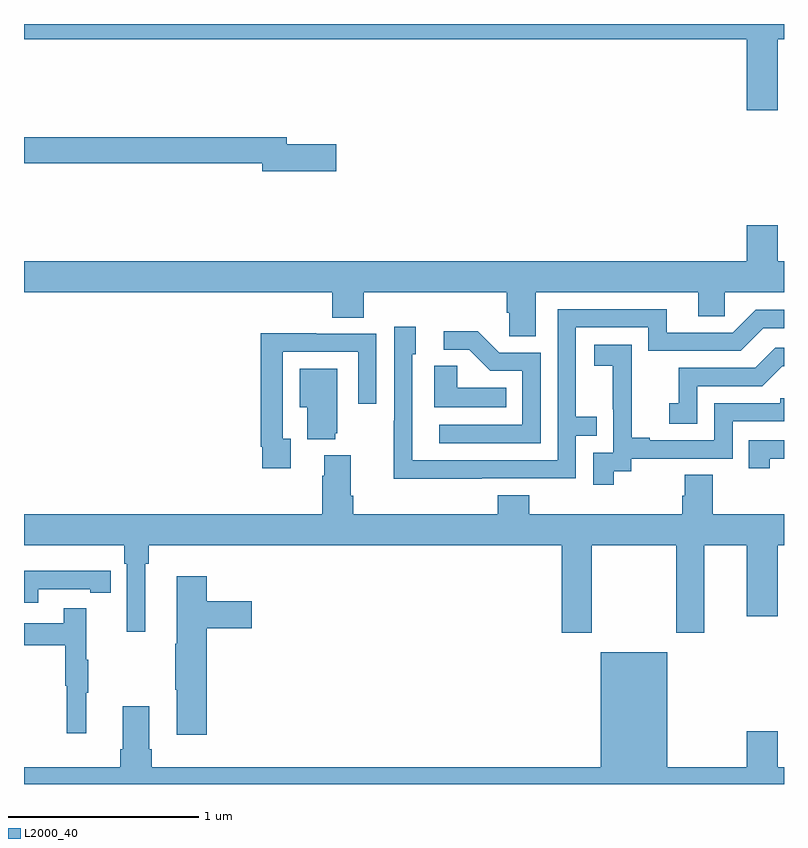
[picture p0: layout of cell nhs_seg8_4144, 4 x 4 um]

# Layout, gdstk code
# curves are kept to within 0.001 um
import gdstk
lib = gdstk.Library(unit=1e-6, precision=1e-09)
def P(c, l, *ps):  # polygons
    for p in ps: c.add(gdstk.Polygon(p, *l))
L2000_40 = (2000, 40)

nhs_seg8_4144 = lib.new_cell('nhs_seg8_4144')
P(nhs_seg8_4144, L2000_40, [(368.968,1129.82),(369,1129.82),(369,1129.9),(365,1129.9),(365,1129.82),(368.804,1129.82),(368.804,1129.446),(368.968,1129.446)],
  [(366.643,1129.268),(366.382,1129.268),(366.382,1129.304),(365,1129.304),(365,1129.168),(366.254,1129.168),(366.254,1129.126),(366.643,1129.126)],
  [(367.693,1128.488),(368.549,1128.488),(368.549,1128.361),(368.688,1128.361),(368.688,1128.488),(369,1128.488),(369,1128.652),(368.968,1128.652),(368.968,1128.841),(368.804,1128.841),(368.804,1128.652),(365,1128.652),(365,1128.488),(366.623,1128.488),(366.623,1128.355),(366.788,1128.355),(366.788,1128.488),(367.541,1128.488),(367.541,1128.379),(367.554,1128.379),(367.554,1128.256),(367.693,1128.256)],
  [(367.409,1127.508),(367.905,1127.508),(367.905,1127.733),(368.015,1127.733),(368.015,1127.834),(367.905,1127.834),(367.905,1128.303),(368.286,1128.303),(368.286,1128.18),(368.772,1128.18),(368.892,1128.3),(369,1128.3),(369,1128.396),(368.85,1128.396),(368.73,1128.276),(368.383,1128.276),(368.383,1128.399),(367.809,1128.399),(367.809,1127.604),(367.044,1127.604),(367.044,1128.162),(367.063,1128.162),(367.063,1128.307),(366.948,1128.307),(366.948,1127.813),(366.946,1127.813),(366.946,1127.507)],
  [(367.719,1128.171),(367.5,1128.171),(367.387,1128.284),(367.209,1128.284),(367.209,1128.186),(367.343,1128.186),(367.454,1128.075),(367.623,1128.075),(367.623,1127.79),(367.185,1127.79),(367.185,1127.694),(367.719,1127.694)],
  [(366.403,1127.718),(366.363,1127.718),(366.363,1128.174),(366.759,1128.174),(366.759,1127.901),(366.855,1127.901),(366.855,1128.27),(366.539,1128.27),(366.539,1128.272),(366.247,1128.272),(366.247,1127.674),(366.255,1127.674),(366.255,1127.562),(366.403,1127.562)],
  [(368.104,1127.545),(368.196,1127.545),(368.196,1127.613),(368.73,1127.613),(368.73,1127.808),(369,1127.808),(369,1127.931),(368.979,1127.931),(368.979,1127.904),(368.634,1127.904),(368.634,1127.709),(368.293,1127.709),(368.293,1127.722),(368.198,1127.722),(368.198,1128.005),(368.199,1128.005),(368.199,1128.211),(368.001,1128.211),(368.001,1128.101),(368.099,1128.101),(368.099,1127.873),(368.1,1127.873),(368.1,1127.643),(367.995,1127.643),(367.995,1127.475),(368.104,1127.475)],
  [(368.544,1127.994),(368.886,1127.994),(368.99,1128.098),(369,1128.098),(369,1128.195),(368.954,1128.195),(368.849,1128.09),(368.446,1128.09),(368.446,1127.905),(368.397,1127.905),(368.397,1127.796),(368.544,1127.796)],
  [(367.538,1127.986),(367.281,1127.986),(367.281,1128.101),(367.16,1128.101),(367.16,1127.882),(367.538,1127.882)],
  [(366.638,1127.745),(366.649,1127.745),(366.649,1128.085),(366.452,1128.085),(366.452,1127.882),(366.491,1127.882),(366.491,1127.714),(366.638,1127.714)],
  [(368.926,1127.613),(369,1127.613),(369,1127.709),(368.815,1127.709),(368.815,1127.562),(368.926,1127.562)],
  [(367.989,1127.156),(368.434,1127.156),(368.434,1126.695),(368.581,1126.695),(368.581,1127.156),(368.804,1127.156),(368.804,1126.782),(368.968,1126.782),(368.968,1127.156),(369,1127.156),(369,1127.32),(368.625,1127.32),(368.625,1127.528),(368.477,1127.528),(368.477,1127.418),(368.465,1127.418),(368.465,1127.32),(367.658,1127.32),(367.658,1127.419),(367.493,1127.419),(367.493,1127.32),(366.734,1127.32),(366.734,1127.416),(366.721,1127.416),(366.721,1127.629),(366.581,1127.629),(366.581,1127.522),(366.569,1127.522),(366.569,1127.32),(365,1127.32),(365,1127.156),(365.528,1127.156),(365.528,1127.06),(365.541,1127.06),(365.541,1126.701),(365.638,1126.701),(365.638,1127.06),(365.657,1127.06),(365.657,1127.156),(367.829,1127.156),(367.829,1126.695),(367.989,1126.695)],
  [(365.076,1126.926),(365.348,1126.926),(365.348,1126.906),(365.456,1126.906),(365.456,1127.022),(365.348,1127.022),(365.348,1127.023),(365,1127.023),(365,1126.854),(365.076,1126.854)],
  [(365.963,1126.721),(366.199,1126.721),(366.199,1126.863),(365.963,1126.863),(365.963,1126.993),(365.804,1126.993),(365.804,1126.637),(365.797,1126.637),(365.797,1126.396),(365.804,1126.396),(365.804,1126.158),(365.963,1126.158)],
  [(365.327,1126.379),(365.338,1126.379),(365.338,1126.553),(365.327,1126.553),(365.327,1126.825),(365.209,1126.825),(365.209,1126.746),(365,1126.746),(365,1126.63),(365.217,1126.63),(365.217,1126.416),(365.224,1126.416),(365.224,1126.167),(365.327,1126.167)],
  [(369,1125.988),(368.968,1125.988),(368.968,1126.177),(368.804,1126.177),(368.804,1125.988),(368.386,1125.988),(368.386,1126.594),(368.036,1126.594),(368.036,1125.988),(365.672,1125.988),(365.672,1126.084),(365.659,1126.084),(365.659,1126.309),(365.519,1126.309),(365.519,1126.084),(365.507,1126.084),(365.507,1125.988),(365,1125.988),(365,1125.9),(369,1125.9)])

lib.write_gds('nhs_seg8_4144.gds')
